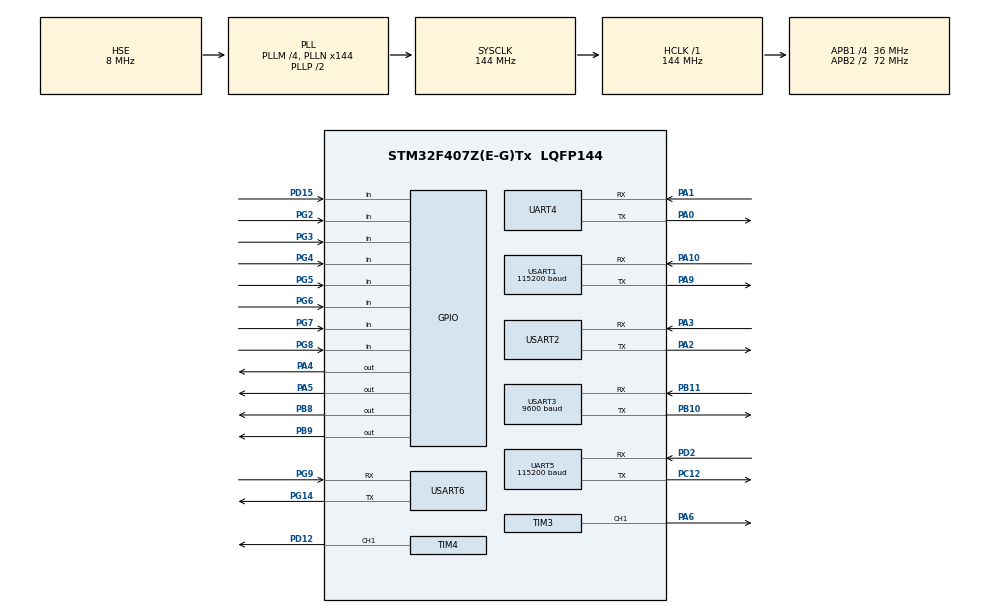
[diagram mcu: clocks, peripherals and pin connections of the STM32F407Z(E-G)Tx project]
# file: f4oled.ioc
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Dma.Request0=USART1_RX
Dma.Request1=USART1_TX
Dma.Request10=USART6_RX
Dma.Request11=USART6_TX
Dma.Request2=UART5_RX
Dma.Request3=UART5_TX
Dma.Request4=USART2_TX
Dma.Request5=USART2_RX
Dma.Request6=USART3_TX
Dma.Request7=USART3_RX
Dma.Request8=UART4_RX
Dma.Request9=UART4_TX
Dma.UART4_RX.8.Direction=DMA_PERIPH_TO_MEMORY
Dma.UART4_RX.8.FIFOMode=DMA_FIFOMODE_DISABLE
Dma.UART4_RX.8.Instance=DMA1_Stream2
Dma.UART4_RX.8.MemDataAlignment=DMA_MDATAALIGN_BYTE
Dma.UART4_RX.8.MemInc=DMA_MINC_ENABLE
Dma.UART4_RX.8.Mode=DMA_NORMAL
Dma.UART4_RX.8.PeriphDataAlignment=DMA_PDATAALIGN_BYTE
Dma.UART4_RX.8.PeriphInc=DMA_PINC_DISABLE
Dma.UART4_RX.8.Priority=DMA_PRIORITY_LOW
Dma.UART4_TX.9.Direction=DMA_MEMORY_TO_PERIPH
Dma.UART4_TX.9.FIFOMode=DMA_FIFOMODE_DISABLE
Dma.UART4_TX.9.Instance=DMA1_Stream4
Dma.UART4_TX.9.MemDataAlignment=DMA_MDATAALIGN_BYTE
Dma.UART4_TX.9.MemInc=DMA_MINC_ENABLE
Dma.UART4_TX.9.Mode=DMA_NORMAL
Dma.UART4_TX.9.PeriphDataAlignment=DMA_PDATAALIGN_BYTE
Dma.UART4_TX.9.PeriphInc=DMA_PINC_DISABLE
Dma.UART4_TX.9.Priority=DMA_PRIORITY_LOW
Dma.UART5_RX.2.Direction=DMA_PERIPH_TO_MEMORY
Dma.UART5_RX.2.FIFOMode=DMA_FIFOMODE_DISABLE
Dma.UART5_RX.2.Instance=DMA1_Stream0
Dma.UART5_RX.2.MemDataAlignment=DMA_MDATAALIGN_BYTE
Dma.UART5_RX.2.MemInc=DMA_MINC_ENABLE
Dma.UART5_RX.2.Mode=DMA_NORMAL
Dma.UART5_RX.2.PeriphDataAlignment=DMA_PDATAALIGN_BYTE
Dma.UART5_RX.2.PeriphInc=DMA_PINC_DISABLE
Dma.UART5_RX.2.Priority=DMA_PRIORITY_LOW
Dma.UART5_TX.3.Direction=DMA_MEMORY_TO_PERIPH
Dma.UART5_TX.3.FIFOMode=DMA_FIFOMODE_DISABLE
Dma.UART5_TX.3.Instance=DMA1_Stream7
Dma.UART5_TX.3.MemDataAlignment=DMA_MDATAALIGN_BYTE
Dma.UART5_TX.3.MemInc=DMA_MINC_ENABLE
Dma.UART5_TX.3.Mode=DMA_NORMAL
Dma.UART5_TX.3.PeriphDataAlignment=DMA_PDATAALIGN_BYTE
Dma.UART5_TX.3.PeriphInc=DMA_PINC_DISABLE
Dma.UART5_TX.3.Priority=DMA_PRIORITY_LOW
Dma.USART1_RX.0.Direction=DMA_PERIPH_TO_MEMORY
Dma.USART1_RX.0.FIFOMode=DMA_FIFOMODE_DISABLE
Dma.USART1_RX.0.Instance=DMA2_Stream2
Dma.USART1_RX.0.MemDataAlignment=DMA_MDATAALIGN_BYTE
Dma.USART1_RX.0.MemInc=DMA_MINC_ENABLE
Dma.USART1_RX.0.Mode=DMA_NORMAL
Dma.USART1_RX.0.PeriphDataAlignment=DMA_PDATAALIGN_BYTE
Dma.USART1_RX.0.PeriphInc=DMA_PINC_DISABLE
Dma.USART1_RX.0.Priority=DMA_PRIORITY_LOW
Dma.USART1_TX.1.Direction=DMA_MEMORY_TO_PERIPH
Dma.USART1_TX.1.FIFOMode=DMA_FIFOMODE_DISABLE
Dma.USART1_TX.1.Instance=DMA2_Stream7
Dma.USART1_TX.1.MemDataAlignment=DMA_MDATAALIGN_BYTE
Dma.USART1_TX.1.MemInc=DMA_MINC_ENABLE
Dma.USART1_TX.1.Mode=DMA_NORMAL
Dma.USART1_TX.1.PeriphDataAlignment=DMA_PDATAALIGN_BYTE
Dma.USART1_TX.1.PeriphInc=DMA_PINC_DISABLE
Dma.USART1_TX.1.Priority=DMA_PRIORITY_LOW
Dma.USART2_RX.5.Direction=DMA_PERIPH_TO_MEMORY
Dma.USART2_RX.5.FIFOMode=DMA_FIFOMODE_DISABLE
Dma.USART2_RX.5.Instance=DMA1_Stream5
Dma.USART2_RX.5.MemDataAlignment=DMA_MDATAALIGN_BYTE
Dma.USART2_RX.5.MemInc=DMA_MINC_ENABLE
Dma.USART2_RX.5.Mode=DMA_NORMAL
Dma.USART2_RX.5.PeriphDataAlignment=DMA_PDATAALIGN_BYTE
Dma.USART2_RX.5.PeriphInc=DMA_PINC_DISABLE
Dma.USART2_RX.5.Priority=DMA_PRIORITY_LOW
Dma.USART2_TX.4.Direction=DMA_MEMORY_TO_PERIPH
Dma.USART2_TX.4.FIFOMode=DMA_FIFOMODE_DISABLE
Dma.USART2_TX.4.Instance=DMA1_Stream6
Dma.USART2_TX.4.MemDataAlignment=DMA_MDATAALIGN_BYTE
Dma.USART2_TX.4.MemInc=DMA_MINC_ENABLE
Dma.USART2_TX.4.Mode=DMA_NORMAL
Dma.USART2_TX.4.PeriphDataAlignment=DMA_PDATAALIGN_BYTE
Dma.USART2_TX.4.PeriphInc=DMA_PINC_DISABLE
Dma.USART2_TX.4.Priority=DMA_PRIORITY_LOW
Dma.USART3_RX.7.Direction=DMA_PERIPH_TO_MEMORY
Dma.USART3_RX.7.FIFOMode=DMA_FIFOMODE_DISABLE
Dma.USART3_RX.7.Instance=DMA1_Stream1
Dma.USART3_RX.7.MemDataAlignment=DMA_MDATAALIGN_BYTE
Dma.USART3_RX.7.MemInc=DMA_MINC_ENABLE
Dma.USART3_RX.7.Mode=DMA_NORMAL
Dma.USART3_RX.7.PeriphDataAlignment=DMA_PDATAALIGN_BYTE
Dma.USART3_RX.7.PeriphInc=DMA_PINC_DISABLE
Dma.USART3_RX.7.Priority=DMA_PRIORITY_LOW
Dma.USART3_TX.6.Direction=DMA_MEMORY_TO_PERIPH
Dma.USART3_TX.6.FIFOMode=DMA_FIFOMODE_DISABLE
Dma.USART3_TX.6.Instance=DMA1_Stream3
Dma.USART3_TX.6.MemDataAlignment=DMA_MDATAALIGN_BYTE
Dma.USART3_TX.6.MemInc=DMA_MINC_ENABLE
Dma.USART3_TX.6.Mode=DMA_NORMAL
Dma.USART3_TX.6.PeriphDataAlignment=DMA_PDATAALIGN_BYTE
Dma.USART3_TX.6.PeriphInc=DMA_PINC_DISABLE
Dma.USART3_TX.6.Priority=DMA_PRIORITY_LOW
Dma.USART6_RX.10.Direction=DMA_PERIPH_TO_MEMORY
Dma.USART6_RX.10.FIFOMode=DMA_FIFOMODE_DISABLE
Dma.USART6_RX.10.Instance=DMA2_Stream1
Dma.USART6_RX.10.MemDataAlignment=DMA_MDATAALIGN_BYTE
Dma.USART6_RX.10.MemInc=DMA_MINC_ENABLE
Dma.USART6_RX.10.Mode=DMA_NORMAL
Dma.USART6_RX.10.PeriphDataAlignment=DMA_PDATAALIGN_BYTE
Dma.USART6_RX.10.PeriphInc=DMA_PINC_DISABLE
Dma.USART6_RX.10.Priority=DMA_PRIORITY_LOW
Dma.USART6_TX.11.Direction=DMA_MEMORY_TO_PERIPH
Dma.USART6_TX.11.FIFOMode=DMA_FIFOMODE_DISABLE
Dma.USART6_TX.11.Instance=DMA2_Stream6
Dma.USART6_TX.11.MemDataAlignment=DMA_MDATAALIGN_BYTE
Dma.USART6_TX.11.MemInc=DMA_MINC_ENABLE
Dma.USART6_TX.11.Mode=DMA_NORMAL
Dma.USART6_TX.11.PeriphDataAlignment=DMA_PDATAALIGN_BYTE
Dma.USART6_TX.11.PeriphInc=DMA_PINC_DISABLE
Dma.USART6_TX.11.Priority=DMA_PRIORITY_LOW
Mcu.Family=STM32F4
Mcu.Name=STM32F407Z(E-G)Tx
Mcu.Package=LQFP144
NVIC.DMA1_Stream0_IRQn=true\:0\:0\:false\:false\:true\:false\:true\:true
NVIC.DMA1_Stream1_IRQn=true\:0\:0\:false\:false\:true\:false\:true\:true
NVIC.DMA1_Stream2_IRQn=true\:0\:0\:false\:false\:true\:false\:true\:true
NVIC.DMA1_Stream3_IRQn=true\:0\:0\:false\:false\:true\:false\:true\:true
NVIC.DMA1_Stream4_IRQn=true\:0\:0\:false\:false\:true\:false\:true\:true
NVIC.DMA1_Stream5_IRQn=true\:0\:0\:false\:false\:true\:false\:true\:true
NVIC.DMA1_Stream6_IRQn=true\:0\:0\:false\:false\:true\:false\:true\:true
NVIC.DMA1_Stream7_IRQn=true\:0\:0\:false\:false\:true\:false\:true\:true
NVIC.DMA2_Stream1_IRQn=true\:0\:0\:false\:false\:true\:false\:true\:true
NVIC.DMA2_Stream2_IRQn=true\:0\:0\:false\:false\:true\:false\:true\:true
NVIC.DMA2_Stream6_IRQn=true\:0\:0\:false\:false\:true\:false\:true\:true
NVIC.DMA2_Stream7_IRQn=true\:0\:0\:false\:false\:true\:false\:true\:true
NVIC.PriorityGroup=NVIC_PRIORITYGROUP_4
NVIC.TIM8_UP_TIM13_IRQn=true\:0\:0\:false\:false\:true\:true\:true\:true
NVIC.UART4_IRQn=true\:0\:0\:false\:false\:true\:true\:true\:true
NVIC.UART5_IRQn=true\:0\:0\:false\:false\:true\:true\:true\:true
NVIC.USART1_IRQn=true\:0\:0\:false\:false\:true\:true\:true\:true
NVIC.USART2_IRQn=true\:0\:0\:false\:false\:true\:true\:true\:true
NVIC.USART3_IRQn=true\:0\:0\:false\:false\:true\:true\:true\:true
NVIC.USART6_IRQn=true\:0\:0\:false\:false\:true\:true\:true\:true
PA0-WKUP.Mode=Asynchronous
PA0-WKUP.Signal=UART4_TX
PA1.Mode=Asynchronous
PA1.Signal=UART4_RX
PA10.Mode=Asynchronous
PA10.Signal=USART1_RX
PA13.Mode=Serial_Wire
PA13.Signal=SYS_JTMS-SWDIO
PA14.Mode=Serial_Wire
PA14.Signal=SYS_JTCK-SWCLK
PA2.Mode=Asynchronous
PA2.Signal=USART2_TX
PA3.Mode=Asynchronous
PA3.Signal=USART2_RX
PA4.GPIO_ModeDefaultOutputPP=GPIO_MODE_OUTPUT_PP
PA4.GPIO_PuPd=GPIO_PULLUP
PA4.Signal=GPIO_Output
PA5.GPIO_PuPd=GPIO_PULLUP
PA5.Signal=GPIO_Output
PA6.Signal=S_TIM3_CH1
PA9.Mode=Asynchronous
PA9.Signal=USART1_TX
PB10.Mode=Asynchronous
PB10.Signal=USART3_TX
PB11.Mode=Asynchronous
PB11.Signal=USART3_RX
PB8.GPIO_ModeDefaultOutputPP=GPIO_MODE_OUTPUT_OD
PB8.GPIO_PuPd=GPIO_NOPULL
PB8.GPIO_Speed=GPIO_SPEED_FREQ_HIGH
PB8.Signal=GPIO_Output
PB9.GPIO_ModeDefaultOutputPP=GPIO_MODE_OUTPUT_OD
PB9.GPIO_PuPd=GPIO_NOPULL
PB9.GPIO_Speed=GPIO_SPEED_FREQ_HIGH
PB9.Signal=GPIO_Output
PC12.Mode=Asynchronous
PC12.Signal=UART5_TX
PD12.Signal=S_TIM4_CH1
PD15.GPIO_PuPd=GPIO_PULLDOWN
PD15.Signal=GPIO_Input
PD2.Mode=Asynchronous
PD2.Signal=UART5_RX
PG14.Mode=Asynchronous
PG14.Signal=USART6_TX
PG2.GPIO_PuPd=GPIO_PULLDOWN
PG2.Signal=GPIO_Input
PG3.GPIO_PuPd=GPIO_PULLDOWN
PG3.Signal=GPIO_Input
PG4.GPIO_PuPd=GPIO_PULLDOWN
PG4.Signal=GPIO_Input
PG5.GPIO_PuPd=GPIO_PULLDOWN
PG5.Signal=GPIO_Input
PG6.GPIO_PuPd=GPIO_PULLDOWN
PG6.Signal=GPIO_Input
PG7.GPIO_PuPd=GPIO_PULLDOWN
PG7.Signal=GPIO_Input
PG8.GPIO_PuPd=GPIO_PULLDOWN
PG8.Signal=GPIO_Input
PG9.Mode=Asynchronous
PG9.Signal=USART6_RX
PH0-OSC_IN.Mode=HSE-External-Oscillator
PH0-OSC_IN.Signal=RCC_OSC_IN
PH1-OSC_OUT.Mode=HSE-External-Oscillator
PH1-OSC_OUT.Signal=RCC_OSC_OUT
ProjectManager.HeapSize=0x200
ProjectManager.StackSize=0x400
ProjectManager.TargetToolchain=CMake
RCC.48MHZClocksFreq_Value=72000000
RCC.AHBFreq_Value=144000000
RCC.APB1CLKDivider=RCC_HCLK_DIV4
RCC.APB1Freq_Value=36000000
RCC.APB1TimFreq_Value=72000000
RCC.APB2CLKDivider=RCC_HCLK_DIV2
RCC.APB2Freq_Value=72000000
RCC.APB2TimFreq_Value=144000000
RCC.CortexFreq_Value=144000000
RCC.HCLKFreq_Value=144000000
RCC.HSE_VALUE=8000000
RCC.HSI_VALUE=16000000
RCC.LSE_VALUE=32768
RCC.PLLM=4
RCC.PLLN=144
RCC.PLLSourceVirtual=RCC_PLLSOURCE_HSE
RCC.SYSCLKFreq_VALUE=144000000
RCC.SYSCLKSource=RCC_SYSCLKSOURCE_PLLCLK
RCC.VCOOutputFreq_Value=288000000
SH.S_TIM3_CH1.0=TIM3_CH1,PWM Generation1 CH1
SH.S_TIM4_CH1.0=TIM4_CH1,PWM Generation1 CH1
TIM3.Channel-PWM\ Generation1\ CH1=TIM_CHANNEL_1
TIM4.Channel-PWM\ Generation1\ CH1=TIM_CHANNEL_1
TIM8.Period=999
TIM8.Prescaler=143
UART4.VirtualMode=Asynchronous
UART5.BaudRate=115200
UART5.VirtualMode=Asynchronous
USART1.BaudRate=115200
USART1.VirtualMode=VM_ASYNC
USART2.VirtualMode=VM_ASYNC
USART3.BaudRate=9600
USART3.VirtualMode=VM_ASYNC
USART6.VirtualMode=VM_ASYNC
VP_TIM3_VS_ClockSourceINT.Mode=Internal
VP_TIM4_VS_ClockSourceINT.Mode=Internal
VP_TIM5_VS_ClockSourceINT.Mode=Internal
VP_TIM8_VS_ClockSourceINT.Mode=Internal
board=custom

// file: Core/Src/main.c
/* USER CODE BEGIN Header */
/**
  ******************************************************************************
  * @file           : main.c
  * @brief          : Main program body
  ******************************************************************************
  * @attention
  *
  * Copyright (c) 2025 STMicroelectronics.
  * All rights reserved.
  *
  * This software is licensed under terms that can be found in the LICENSE file
  * in the root directory of this software component.
  * If no LICENSE file comes with this software, it is provided AS-IS.
  *
  ******************************************************************************
  */
/* USER CODE END Header */
#include "main.h"
#include "dma.h"
#include "stm32f4xx_hal.h"
#include "tim.h"
#include "usart.h"
#include "gpio.h"

/* USER CODE BEGIN Includes */
#include "oled.h"
#include "jy61p.h"
#include "EMM_V5.H"
#include "move.H"
#include "gray.H"
#include "string.h"
#include "math.h"
#include "state.h"
#include "duoji.h"
#include "shijue.h"
#include <stdint.h>
#include <stdio.h>
/* USER CODE END Includes */

/* USER CODE BEGIN PD */
#define PACKET_TIMEOUT 100
#define DUOJI_BOOT_SETTLE_DELAY_MS 50U
#define DUOJI_BOOT_REHOME_DELAY_MS 450U
#define VISION_DEBUG_PRINT_PERIOD_MS 200U
#define VISION_YAJUN_ACTION_DELAY_MS 600
#define TASK2_PLACE_TO_BACK_DELAY_MS 800U // 修改：任务二放完物块后等待1秒再回退
#define JY61P_RX_BUFFER_SIZE 64U
#define JY61P_DEBUG_PRINT_PERIOD_MS 1000U
/* USER CODE END PD */

/* USER CODE BEGIN PV */

uint16_t count;
uint8_t count1;
uint8_t count2;

uint8_t a;
uint8_t b;
KinematicsParam_t MyChassisParam; // 底盘运动学参�?
extern uint8_t g_motionActive;
extern uint8_t stat;
extern volatile uint32_t g_debug_io_mode;
uint8_t rxBuffer1[256];
uint8_t rxBuffer2[10];
uint8_t txBuffer2[10];
uint8_t rxBuffer3[100];
uint8_t rxBuffer4[256];
uint8_t rxBuffer5[256];
/* 修改：USART6 专用于接收 JY61P 连续数据流。 */
static uint8_t jy61p_rx_buffer[JY61P_RX_BUFFER_SIZE];
static uint8_t jy61p_debug_tx[160];
static volatile uint8_t jy61p_rx_enabled = 0U;
uint8_t QRPacke[2];
uint8_t QRPacke1[2];
uint8_t Coulor[5];
uint8_t place[7] = {'0', '0', '0', '0', '0', '0', '\0'};
volatile uint8_t vision_place_valid = 0U;
volatile uint8_t vision_current_cmd = 0U;
static volatile uint16_t vision_x_latest = 0U;
static volatile uint16_t vision_y_latest = 0U;
static uint8_t vision_color_count = 0U;
static uint8_t vision_debug_tx[40];
uint8_t distancestate=0;
uint8_t accValid = 0;
char displayBuffer[20];
typedef enum {
    MOTOR_IDLE,
    MOTOR_ENABLING,
    MOTOR_MOVING,
    MOTOR_FINISHED
} MotorState_t;
extern int ball_2[5];
extern uint8_t outLetter[4];
MotorState_t motorState = MOTOR_IDLE;
uint32_t motorTimer = 0;
/* USER CODE END PV */

void SystemClock_Config(void);

/* USER CODE BEGIN 0 */
uint8_t get_vision_xy(uint16_t *vision_x, uint16_t *vision_y, uint16_t max_x, uint16_t max_y)
{
    uint16_t x_snapshot = 0U;
    uint16_t y_snapshot = 0U;
    uint8_t valid = 0U;

    __disable_irq();
    x_snapshot = vision_x_latest;
    y_snapshot = vision_y_latest;
    valid = vision_place_valid;
    __enable_irq();

    if (valid == 0U) {
        *vision_x = 0U;
        *vision_y = 0U;
        return 0U;
    }

    if ((x_snapshot > max_x) || (y_snapshot > max_y)) {
        *vision_x = 0U;
        *vision_y = 0U;
        return 0U;
    }

    *vision_x = x_snapshot;
    *vision_y = y_snapshot;

    return 1U;
}

static uint16_t Vision_ReadLe16(const uint8_t *data)
{
    return (uint16_t)data[0] | ((uint16_t)data[1] << 8);
}

static uint32_t Vision_ReadLe32(const uint8_t *data)
{
    return (uint32_t)data[0] |
           ((uint32_t)data[1] << 8) |
           ((uint32_t)data[2] << 16) |
           ((uint32_t)data[3] << 24);
}

static uint8_t Vision_ColorIdToChar(uint8_t color_id)
{
    switch (color_id) {
    case 1U: return (uint8_t)'w';
    case 2U: return (uint8_t)'r';
    case 3U: return (uint8_t)'b';
    case 4U: return (uint8_t)'g';
    case 5U: return (uint8_t)'k';
    default: return 0U;
    }
}

static uint8_t Vision_ColorDebugChar(uint8_t color)
{
    return (color == 0U) ? (uint8_t)'0' : color;
}

static void Vision_SendParsedDebug(uint8_t type, uint32_t qr_num, uint8_t color_char, int16_t x, int16_t y)
{
    int len = 0;

    if (huart2.gState != HAL_UART_STATE_READY) {
        return;
    }

    if (type == 0x01U) {
        (void)color_char;
        len = snprintf((char *)vision_debug_tx, sizeof(vision_debug_tx), "COLOR,%c%c%c%c%c\r\n",
                       Vision_ColorDebugChar(Coulor[0]),
                       Vision_ColorDebugChar(Coulor[1]),
                       Vision_ColorDebugChar(Coulor[2]),
                       Vision_ColorDebugChar(Coulor[3]),
                       Vision_ColorDebugChar(Coulor[4]));
    } else if (type == 0x02U) {
        len = snprintf((char *)vision_debug_tx, sizeof(vision_debug_tx), "QR,%lu\r\n", (unsigned long)qr_num);
    } else if (type == 0x03U) {
        len = snprintf((char *)vision_debug_tx, sizeof(vision_debug_tx), "LOC,%d,%d\r\n", (int)x, (int)y);
    }

    if ((len > 0) && (len < (int)sizeof(vision_debug_tx))) {
        /* 修改：暂时停止将视觉解析结果转发到 USART2。 */
        // HAL_UART_Transmit_DMA(&huart2, vision_debug_tx, (uint16_t)len);
    }
}

static void JY61P_FormatCenti(char *output, uint16_t output_size, float value)
{
    int32_t scaled = (int32_t)(value * 100.0f + ((value >= 0.0f) ? 0.5f : -0.5f));
    uint32_t magnitude = (scaled < 0) ? (uint32_t)(-scaled) : (uint32_t)scaled;

    snprintf(output, output_size, "%s%lu.%02lu",
             (scaled < 0) ? "-" : "",
             (unsigned long)(magnitude / 100U),
             (unsigned long)(magnitude % 100U));
}

/* 修改：陀螺仪调试输出当前停用，保留函数供后续恢复。 */
static void __attribute__((unused)) JY61P_SendDebug(void)
{
    static uint32_t last_print_tick = 0U;
    char ax[16], ay[16], az[16];
    char wx[16], wy[16], wz[16];
    char roll[16], pitch[16], yaw[16], temperature[16];
    uint32_t now = HAL_GetTick();
    int len;

    if (((now - last_print_tick) < JY61P_DEBUG_PRINT_PERIOD_MS) ||
        (lastPacketTime == 0U) ||
        (huart2.gState != HAL_UART_STATE_READY)) {
        return;
    }

    last_print_tick = now;
    JY61P_FormatCenti(ax, sizeof(ax), sensorData.ax);
    JY61P_FormatCenti(ay, sizeof(ay), sensorData.ay);
    JY61P_FormatCenti(az, sizeof(az), sensorData.az);
    JY61P_FormatCenti(wx, sizeof(wx), sensorData.wx);
    JY61P_FormatCenti(wy, sizeof(wy), sensorData.wy);
    JY61P_FormatCenti(wz, sizeof(wz), sensorData.wz);
    JY61P_FormatCenti(roll, sizeof(roll), sensorData.roll);
    JY61P_FormatCenti(pitch, sizeof(pitch), sensorData.pitch);
    JY61P_FormatCenti(yaw, sizeof(yaw), sensorData.yaw);
    JY61P_FormatCenti(temperature, sizeof(temperature), sensorData.temperature);

    len = snprintf((char *)jy61p_debug_tx, sizeof(jy61p_debug_tx),
                   "IMU,ACC=%s,%s,%s,GYRO=%s,%s,%s,ANGLE=%s,%s,%s,TEMP=%s\r\n",
                   ax, ay, az, wx, wy, wz, roll, pitch, yaw, temperature);

    if ((len > 0) && (len < (int)sizeof(jy61p_debug_tx))) {
        HAL_UART_Transmit_DMA(&huart2, jy61p_debug_tx, (uint16_t)len);
    }
}

static void Vision_SaveQr(uint32_t qr_num)
{
    uint8_t tens = (uint8_t)(((qr_num % 100U) / 10U) + (uint32_t)'0');
    uint8_t units = (uint8_t)((qr_num % 10U) + (uint32_t)'0');

    if (vision_current_cmd == 0x01U) {
        QRPacke[0] = tens;
        QRPacke[1] = units;
    } else if (vision_current_cmd == 0x03U) {
        QRPacke1[0] = tens;
        QRPacke1[1] = units;
    }

    Vision_SendParsedDebug(0x02U, qr_num, 0U, 0, 0);
}

static void Vision_SaveColor(uint8_t color_id)
{
    uint8_t color_char = Vision_ColorIdToChar(color_id);
    uint8_t i = 0U;

    if (color_char == 0U) {
        return;
    }

    for (i = 0U; i < vision_color_count; i++) {
        if (Coulor[i] == color_char) {
            Vision_SendParsedDebug(0x01U, 0U, 0U, 0, 0);
            return;
        }
    }

    if (vision_color_count >= 5U) {
        Vision_SendParsedDebug(0x01U, 0U, 0U, 0, 0);
        return;
    }

    Coulor[vision_color_count] = color_char;
    vision_color_count++;

    Vision_SendParsedDebug(0x01U, 0U, 0U, 0, 0);
}

static void Vision_SaveLocation(int16_t x, int16_t y)
{
    uint16_t legacy_x = 0U;
    uint16_t legacy_y = 0U;

    if ((x < 0) || (y < 0)) {
        vision_place_valid = 0U;
        return;
    }

    __disable_irq();
    vision_x_latest = (uint16_t)x;
    vision_y_latest = (uint16_t)y;
    vision_place_valid = 1U;
    __enable_irq();

    legacy_x = ((uint16_t)x > 999U) ? 999U : (uint16_t)x;
    legacy_y = ((uint16_t)y > 999U) ? 999U : (uint16_t)y;
    place[0] = (uint8_t)((legacy_x / 100U) + (uint16_t)'0');
    place[1] = (uint8_t)(((legacy_x / 10U) % 10U) + (uint16_t)'0');
    place[2] = (uint8_t)((legacy_x % 10U) + (uint16_t)'0');
    place[3] = (uint8_t)((legacy_y / 100U) + (uint16_t)'0');
    place[4] = (uint8_t)(((legacy_y / 10U) % 10U) + (uint16_t)'0');
    place[5] = (uint8_t)((legacy_y % 10U) + (uint16_t)'0');

    Vision_SendParsedDebug(0x03U, 0U, 0U, x, y);
}

static void Vision_ParseNewFrame(const uint8_t *buf, uint16_t size)
{
    uint8_t type = 0U;
    uint8_t len = 0U;

    if ((size < 5U) || (buf[0] != 0xAAU)) {
        return;
    }

    type = buf[1];
    len = buf[2];

    if ((len > 4U) || (size < (uint16_t)(len + 4U)) || (buf[len + 3U] != 0x55U)) {
        return;
    }

    if ((type == 0x01U) && (len == 1U)) {
        Vision_SaveColor(buf[3]);
    } else if ((type == 0x02U) && (len == 4U)) {
        Vision_SaveQr(Vision_ReadLe32(&buf[3]));
    } else if ((type == 0x03U) && (len == 4U)) {
        Vision_SaveLocation((int16_t)Vision_ReadLe16(&buf[3]),
                            (int16_t)Vision_ReadLe16(&buf[5]));
    }
}

static float clamp_float(float value, float min_value, float max_value)
{
    if (value > max_value) {
        return max_value;
    }

    if (value < min_value) {
        return min_value;
    }

    return value;
}

static void add_vector_by_angle(float angle_deg, float speed, float *vx, float *vy)
{
    float rad = angle_deg * 3.1415926f / 180.0f;

    *vx += speed * cosf(rad);
    *vy += speed * sinf(rad);
}

static void Debug_PrintVisionXY(uint16_t vision_x, uint16_t vision_y, uint8_t valid)
{
    static uint32_t last_print_tick = 0U;
    uint32_t now = HAL_GetTick();

    if (g_debug_io_mode != 1U) {
        return;
    }

    if ((now - last_print_tick) < VISION_DEBUG_PRINT_PERIOD_MS) {
        return;
    }

    last_print_tick = now;
    /* 修改：恢复视觉坐标调试输出。 */
    printf("vision valid=%u x=%u y=%u\r\n",
           (unsigned int)valid,
           (unsigned int)vision_x,
           (unsigned int)vision_y);
}

static uint8_t Vision_XY_PID_Control(uint16_t vision_x,
                                     uint16_t vision_y,
                                     uint8_t valid,
                                     uint16_t center_x,
                                     uint16_t max_x,
                                     uint16_t center_y,
                                     uint16_t max_y,
                                     uint16_t deadband_x_px,
                                     uint16_t deadband_y_px,
                                     float kp_x,
                                     float ki_x,
                                     float kd_x,
                                     float kp_y,
                                     float ki_y,
                                     float kd_y,
                                     float min_speed_mps,
                                     float max_speed_mps,
                                     float integral_limit_x,
                                     float integral_limit_y,
                                     uint32_t update_period_ms,
                                     float angle_when_x_low,
                                     float angle_when_x_high,
                                     float angle_when_y_low,
                                     float angle_when_y_high)
{
    static float integral_x = 0.0f;
    static float integral_y = 0.0f;
    static float last_error_x = 0.0f;
    static float last_error_y = 0.0f;
    static uint32_t last_update_tick = 0U;
    static uint8_t pid_initialized = 0U;
    static uint8_t motor_running = 0U;
    float error_x = (float)((int32_t)center_x - (int32_t)vision_x);
    float error_y = (float)((int32_t)center_y - (int32_t)vision_y);
    float abs_error_x = fabsf(error_x);
    float abs_error_y = fabsf(error_y);
    uint32_t now = HAL_GetTick();

    if ((valid == 0U) || (vision_x > max_x) || (vision_y > max_y)) {
        if (motor_running != 0U) {
            Move_StopAll();
        }
        integral_x = 0.0f;
        integral_y = 0.0f;
        last_error_x = 0.0f;
        last_error_y = 0.0f;
        pid_initialized = 0U;
        motor_running = 0U;
        return 0U;
    }

    if ((abs_error_x <= (float)deadband_x_px) && (abs_error_y <= (float)deadband_y_px)) {
        if (motor_running != 0U) {
            Move_StopAll();
        }
        integral_x = 0.0f;
        integral_y = 0.0f;
        last_error_x = error_x;
        last_error_y = error_y;
        pid_initialized = 1U;
        last_update_tick = now;
        motor_running = 0U;
        return 1U;
    }

    if ((update_period_ms > 0U) && ((now - last_update_tick) < update_period_ms)) {
        return 0U;
    }

    float dt = 0.001f;
    if (pid_initialized != 0U) {
        dt = (float)(now - last_update_tick) / 1000.0f;
        if (dt <= 0.0f) {
            dt = 0.001f;
        }
    }

    float output_x = 0.0f;
    float output_y = 0.0f;

    if (abs_error_x > (float)deadband_x_px) {
        integral_x += error_x * dt;
        integral_x = clamp_float(integral_x, -integral_limit_x, integral_limit_x);
        float derivative_x = (pid_initialized != 0U) ? ((error_x - last_error_x) / dt) : 0.0f;
        output_x = (kp_x * error_x) + (ki_x * integral_x) + (kd_x * derivative_x);
    } else {
        integral_x = 0.0f;
    }

    if (abs_error_y > (float)deadband_y_px) {
        integral_y += error_y * dt;
        integral_y = clamp_float(integral_y, -integral_limit_y, integral_limit_y);
        float derivative_y = (pid_initialized != 0U) ? ((error_y - last_error_y) / dt) : 0.0f;
        output_y = (kp_y * error_y) + (ki_y * integral_y) + (kd_y * derivative_y);
    } else {
        integral_y = 0.0f;
    }

    float vector_x = 0.0f;
    float vector_y = 0.0f;

    if (output_x > 0.0f) {
        add_vector_by_angle(angle_when_x_low, fabsf(output_x), &vector_x, &vector_y);
    } else if (output_x < 0.0f) {
        add_vector_by_angle(angle_when_x_high, fabsf(output_x), &vector_x, &vector_y);
    }

    if (output_y > 0.0f) {
        add_vector_by_angle(angle_when_y_low, fabsf(output_y), &vector_x, &vector_y);
    } else if (output_y < 0.0f) {
        add_vector_by_angle(angle_when_y_high, fabsf(output_y), &vector_x, &vector_y);
    }

    float speed = sqrtf((vector_x * vector_x) + (vector_y * vector_y));
    if (speed <= 0.0f) {
        if (motor_running != 0U) {
            Move_StopAll();
        }
        motor_running = 0U;
    } else {
        float angle_deg = atan2f(vector_y, vector_x) * 180.0f / 3.1415926f;
        if (angle_deg < 0.0f) {
            angle_deg += 360.0f;
        }

        speed = clamp_float(speed, min_speed_mps, max_speed_mps);
        Move_TranslateContinuous(angle_deg, speed);
        motor_running = 1U;
    }

    if ((abs_error_x <= (float)deadband_x_px) && (abs_error_y <= (float)deadband_y_px)) {
        Move_StopAll();
        motor_running = 0U;
    }

    last_error_x = error_x;
    last_error_y = error_y;
    last_update_tick = now;
    pid_initialized = 1U;
    return (motor_running == 0U) ? 1U : 0U;
}

static uint8_t s_vision_fb_phase = 0U;
static uint32_t s_vision_fb_stable_start_tick = 0U;
static uint32_t s_vision_fb_wait_start_tick = 0U;

void Vision_XY_PID_Then_Forward_Backward_Reset(void)
{
    s_vision_fb_phase = 0U;
    s_vision_fb_stable_start_tick = 0U;
    s_vision_fb_wait_start_tick = 0U;
}

uint8_t Vision_XY_PID_Then_Forward_Backward(uint16_t vision_x,
                                                   uint16_t vision_y,
                                                   uint8_t valid,
                                                   uint16_t center_x,
                                                   uint16_t max_x,
                                                   uint16_t center_y,
                                                   uint16_t max_y,
                                                   uint16_t deadband_x_px,
                                                   uint16_t deadband_y_px,
                                                   float kp_x,
                                                   float ki_x,
                                                   float kd_x,
                                                   float kp_y,
                                                   float ki_y,
                                                   float kd_y,
                                                   float min_speed_mps,
                                                   float max_speed_mps,
                                                   float integral_limit_x,
                                                   float integral_limit_y,
                                                   uint32_t update_period_ms,
                                                   float angle_when_x_low,
                                                   float angle_when_x_high,
                                                   float angle_when_y_low,
                                                   float angle_when_y_high,
                                                   uint32_t stable_required_ms,
                                                   float forward_distance_m,
                                                   float backward_distance_m,
                                                   float move_speed_mps,
                                                   float forward_angle_deg,
                                                   float backward_angle_deg)
{
    if (s_vision_fb_phase == 0U) {
        uint8_t aligned = Vision_XY_PID_Control(vision_x, vision_y, valid,
                                                center_x, max_x, center_y, max_y,
                                                deadband_x_px, deadband_y_px,
                                                kp_x, ki_x, kd_x,
                                                kp_y, ki_y, kd_y,
                                                min_speed_mps, max_speed_mps,
                                                integral_limit_x, integral_limit_y,
                                                update_period_ms,
                                                angle_when_x_low, angle_when_x_high,
                                                angle_when_y_low, angle_when_y_high);
        uint32_t now = HAL_GetTick();

        if (aligned == 0U) {
            s_vision_fb_stable_start_tick = 0U;
            return 0U;
        }

        if (s_vision_fb_stable_start_tick == 0U) {
            s_vision_fb_stable_start_tick = now;
            return 0U;
        }

        if ((now - s_vision_fb_stable_start_tick) < stable_required_ms) {
            return 0U;
        }

        if ((forward_distance_m <= 0.0f) || (backward_distance_m <= 0.0f) || (move_speed_mps <= 0.0f)) {
            s_vision_fb_phase = 4U;
            return 1U;
        }

        uint32_t duration_ms = (uint32_t)((forward_distance_m / move_speed_mps) * 1000.0f + 0.5f);
        Move_StartTranslateForTime(forward_angle_deg, move_speed_mps, duration_ms);
        s_vision_fb_phase = 1U;
        return 0U;
    }

    if (s_vision_fb_phase == 1U) {
        Move_Update();
        if (g_motionActive != 0U) {
            s_vision_fb_phase = 2U;
            s_vision_fb_wait_start_tick = HAL_GetTick();
        }
        return 0U;
    }

    if (s_vision_fb_phase == 2U) {
        if ((HAL_GetTick() - s_vision_fb_wait_start_tick) < 400U) {
            return 0U;
        }

        uint32_t duration_ms = (uint32_t)((backward_distance_m / move_speed_mps) * 1000.0f + 0.5f);
        Move_StartTranslateForTime(backward_angle_deg, move_speed_mps, duration_ms);
        s_vision_fb_phase = 3U;
        return 0U;
    }

    if (s_vision_fb_phase == 3U) {
        Move_Update();
        if (g_motionActive != 0U) {
            s_vision_fb_phase = 4U;
            return 1U;
        }
        return 0U;
    }

    return 1U;
}
uint8_t duoooooo=1;
uint8_t Vision_XY_PID_Then_Forward_Backward2(uint16_t vision_x,
                                                   uint16_t vision_y,
                                                   uint8_t valid,
                                                   uint16_t center_x,
                                                   uint16_t max_x,
                                                   uint16_t center_y,
                                                   uint16_t max_y,
                                                   uint16_t deadband_x_px,
                                                   uint16_t deadband_y_px,
                                                   float kp_x,
                                                   float ki_x,
                                                   float kd_x,
                                                   float kp_y,
                                                   float ki_y,
                                                   float kd_y,
                                                   float min_speed_mps,
                                                   float max_speed_mps,
                                                   float integral_limit_x,
                                                   float integral_limit_y,
                                                   uint32_t update_period_ms,
                                                   float angle_when_x_low,
                                                   float angle_when_x_high,
                                                   float angle_when_y_low,
                                                   float angle_when_y_high,
                                                   uint32_t stable_required_ms,
                                                   float forward_distance_m,
                                                   float backward_distance_m,
                                                   float move_speed_mps,
                                                   float forward_angle_deg,
                                                   float backward_angle_deg)
{
    if (s_vision_fb_phase == 0U) {
        uint8_t aligned = Vision_XY_PID_Control(vision_x, vision_y, valid,
                                                center_x, max_x, center_y, max_y,
                                                deadband_x_px, deadband_y_px,
                                                kp_x, ki_x, kd_x,
                                                kp_y, ki_y, kd_y,
                                                min_speed_mps, max_speed_mps,
                                                integral_limit_x, integral_limit_y,
                                                update_period_ms,
                                                angle_when_x_low, angle_when_x_high,
                                                angle_when_y_low, angle_when_y_high);
        uint32_t now = HAL_GetTick();

        if (aligned == 0U) {
            s_vision_fb_stable_start_tick = 0U;
            return 0U;
        }

        if (s_vision_fb_stable_start_tick == 0U) {
            s_vision_fb_stable_start_tick = now;
            return 0U;
        }

        if ((now - s_vision_fb_stable_start_tick) < stable_required_ms) {
            return 0U;
        }

        if ((forward_distance_m <= 0.0f) || (backward_distance_m <= 0.0f) || (move_speed_mps <= 0.0f)) {
            s_vision_fb_phase = 5U;
            return 1U;
        }

        uint32_t duration_ms = (uint32_t)((forward_distance_m / move_speed_mps) * 1000.0f + 0.5f);
        Move_StartTranslateForTime(forward_angle_deg, move_speed_mps, duration_ms);
        s_vision_fb_phase = 1U;
        return 0U;
    }

    if (s_vision_fb_phase == 1U) {
        Move_Update();
        if (g_motionActive != 0U) {
            if(duoooooo)
            {
                yajun_2();
                duoooooo=0;
            }
            else
            {
                guanjun_2();
            }
            s_vision_fb_phase = 2U;
            s_vision_fb_wait_start_tick = HAL_GetTick();
        }
        return 0U;
    }

    if (s_vision_fb_phase == 2U) {
        // 修改：任务二放完物块后等待1秒再回退
        if ((HAL_GetTick() - s_vision_fb_wait_start_tick) < TASK2_PLACE_TO_BACK_DELAY_MS) {
            return 0U;
        }

        uint32_t duration_ms = (uint32_t)((backward_distance_m / move_speed_mps) * 1000.0f + 0.5f);
        Move_StartTranslateForTime(backward_angle_deg, move_speed_mps, duration_ms);
        s_vision_fb_phase = 3U;
        return 0U;
    }

    if (s_vision_fb_phase == 3U) {
        Move_Update();
        if (g_motionActive != 0U) {
           // guanjun_2();
            s_vision_fb_phase = 4U;
            s_vision_fb_wait_start_tick = HAL_GetTick();
        }
        return 0U;
    }

    if (s_vision_fb_phase == 4U) {
        if ((HAL_GetTick() - s_vision_fb_wait_start_tick) >= VISION_YAJUN_ACTION_DELAY_MS) {
            s_vision_fb_phase = 5U;
            return 1U;
        }
        return 0U;
    }

    return 1U;
}

uint8_t Vision_XY_PID_Then_Forward_Backward3(uint16_t vision_x,
                                                   uint16_t vision_y,
                                                   uint8_t valid,
                                                   uint16_t center_x,
                                                   uint16_t max_x,
                                                   uint16_t center_y,
                                                   uint16_t max_y,
                                                   uint16_t deadband_x_px,
                                                   uint16_t deadband_y_px,
                                                   float kp_x,
                                                   float ki_x,
                                                   float kd_x,
                                                   float kp_y,
                                                   float ki_y,
                                                   float kd_y,
                                                   float min_speed_mps,
                                                   float max_speed_mps,
                                                   float integral_limit_x,
                                                   float integral_limit_y,
                                                   uint32_t update_period_ms,
                                                   float angle_when_x_low,
                                                   float angle_when_x_high,
                                                   float angle_when_y_low,
                                                   float angle_when_y_high,
                                                   uint32_t stable_required_ms,
                                                   float forward_distance_m,
                                                   float backward_distance_m,
                                                   float move_speed_mps,
                                                   float forward_angle_deg,
                                                   float backward_angle_deg)
{
    if (s_vision_fb_phase == 0U) {
        uint8_t aligned = Vision_XY_PID_Control(vision_x, vision_y, valid,
                                                center_x, max_x, center_y, max_y,
                                                deadband_x_px, deadband_y_px,
                                                kp_x, ki_x, kd_x,
                                                kp_y, ki_y, kd_y,
                                                min_speed_mps, max_speed_mps,
                                                integral_limit_x, integral_limit_y,
                                                update_period_ms,
                                                angle_when_x_low, angle_when_x_high,
                                                angle_when_y_low, angle_when_y_high);
        uint32_t now = HAL_GetTick();

        if (aligned == 0U) {
            s_vision_fb_stable_start_tick = 0U;
            return 0U;
        }

        if (s_vision_fb_stable_start_tick == 0U) {
            s_vision_fb_stable_start_tick = now;
            return 0U;
        }

        if ((now - s_vision_fb_stable_start_tick) < stable_required_ms) {
            return 0U;
        }

        if ((forward_distance_m <= 0.0f) || (backward_distance_m <= 0.0f) || (move_speed_mps <= 0.0f)) {
            s_vision_fb_phase = 5U;
            return 1U;
        }

        uint32_t duration_ms = (uint32_t)((forward_distance_m / move_speed_mps) * 1000.0f + 0.5f);
        Move_StartTranslateForTime(forward_angle_deg, move_speed_mps, duration_ms);
        s_vision_fb_phase = 1U;
        return 0U;
    }

    if (s_vision_fb_phase == 1U) {
        Move_Update();
        if (g_motionActive != 0U) {
            guanjun_2();
            s_vision_fb_phase = 2U;
            s_vision_fb_wait_start_tick = HAL_GetTick();
        }
        return 0U;
    }

    if (s_vision_fb_phase == 2U) {
        if ((HAL_GetTick() - s_vision_fb_wait_start_tick) < VISION_YAJUN_ACTION_DELAY_MS) {
            return 0U;
        }

        uint32_t duration_ms = (uint32_t)((backward_distance_m / move_speed_mps) * 1000.0f + 0.5f);
        Move_StartTranslateForTime(backward_angle_deg, move_speed_mps, duration_ms);
        s_vision_fb_phase = 3U;
        return 0U;
    }

    if (s_vision_fb_phase == 3U) {
        Move_Update();
        if (g_motionActive != 0U) {
            yajun_2();
            s_vision_fb_phase = 4U;
            s_vision_fb_wait_start_tick = HAL_GetTick();
        }
        return 0U;
    }

    if (s_vision_fb_phase == 4U) {
        if ((HAL_GetTick() - s_vision_fb_wait_start_tick) >= VISION_YAJUN_ACTION_DELAY_MS) {
            s_vision_fb_phase = 5U;
            return 1U;
        }
        return 0U;
    }

    return 1U;
}

void JY61P_RxStart(void)
{
    jy61p_rx_enabled = 1U;
    angleValid = 0U;
    (void)HAL_UART_DMAStop(&huart6);
    __HAL_UART_CLEAR_IDLEFLAG(&huart6);
    HAL_NVIC_ClearPendingIRQ(USART6_IRQn);
    HAL_NVIC_ClearPendingIRQ(DMA2_Stream1_IRQn);
    HAL_NVIC_EnableIRQ(DMA2_Stream1_IRQn);
    HAL_NVIC_EnableIRQ(USART6_IRQn);
    HAL_UARTEx_ReceiveToIdle_DMA(&huart6, jy61p_rx_buffer, sizeof(jy61p_rx_buffer));
    __HAL_DMA_DISABLE_IT(&hdma_usart6_rx, DMA_IT_HT);
}

void JY61P_RxStop(void)
{
    jy61p_rx_enabled = 0U;
    (void)HAL_UART_DMAStop(&huart6);
    __HAL_UART_DISABLE_IT(&huart6, UART_IT_IDLE | UART_IT_RXNE | UART_IT_PE | UART_IT_ERR);
    HAL_NVIC_DisableIRQ(USART6_IRQn);
    HAL_NVIC_DisableIRQ(DMA2_Stream1_IRQn);
    HAL_NVIC_ClearPendingIRQ(USART6_IRQn);
    HAL_NVIC_ClearPendingIRQ(DMA2_Stream1_IRQn);
}

void HAL_UARTEx_RxEventCallback(UART_HandleTypeDef *huart, uint16_t Size)
{
	(void)Size;
	if (huart == &huart6)
	{
		if (jy61p_rx_enabled == 0U)
		{
			return;
		}
		/* 修改：解析 USART6 收到的全部 JY61P 字节，并立即恢复空闲 DMA 接收。 */
		for (uint16_t i = 0U; i < Size; i++)
		{
			ProcessReceivedData(jy61p_rx_buffer[i]);
		}
		HAL_UARTEx_ReceiveToIdle_DMA(&huart6, jy61p_rx_buffer, sizeof(jy61p_rx_buffer));
		__HAL_DMA_DISABLE_IT(&hdma_usart6_rx, DMA_IT_HT);
		/* 修改：陀螺仪数据输出暂时注释，仅保留 USART6 接收与解析。 */
		// JY61P_SendDebug();
		return;
	}
	if(huart==&huart5)
	{
	//HAL_UART_Transmit_DMA(&huart5,rxBuffer5,Size);
	//HAL_UARTEx_ReceiveToIdle_DMA(&huart5,rxBuffer5,sizeof(rxBuffer5));

	}
	__HAL_DMA_DISABLE_IT(&hdma_uart5_rx, DMA_IT_HT);
	if(huart==&huart4)
	{
	}
	if(huart == &huart1)
    {
        Vision_ParseNewFrame(rxBuffer2, Size);
		rxBuffer2[0] = 0U;
        if(rxBuffer2[0] == 0xAA && rxBuffer2[3] == 0x55)
		{
		  a = rxBuffer2[1];
          b = rxBuffer2[2];
          if (QRPacke1[0]==0 && QRPacke1[1]==0)
          {
            QRPacke1[0]=a; QRPacke1[1]=b;          // 第一次收到的二维码
          }
          else if (QRPacke1[0]==a && QRPacke1[1]==b)
          {
            // 重复，忽略
          }
          else
          {
            QRPacke[0]=a; QRPacke[1]=b;            // 第二次最新不同二维码
          }
		}
		else if(rxBuffer2[0] == 0xAB && rxBuffer2[6] == 0x55)
		{
			Coulor[0]=rxBuffer2[5];
			Coulor[1]=rxBuffer2[4];
			Coulor[2]=rxBuffer2[3];
			Coulor[3]=rxBuffer2[2];
			Coulor[4]=rxBuffer2[1];
		}
		else if(rxBuffer2[0] == 0xAD && rxBuffer2[7] == 0x55)
		{
			place[0]=rxBuffer2[1];
			place[1]=rxBuffer2[2];
			place[2]=rxBuffer2[3];
			place[3]=rxBuffer2[4];
			place[4]=rxBuffer2[5];
			place[5]=rxBuffer2[6];
            vision_place_valid = 1U;
		}
        HAL_UARTEx_ReceiveToIdle_DMA(&huart1, rxBuffer2, sizeof(rxBuffer2));
		__HAL_DMA_DISABLE_IT(&hdma_usart1_rx, DMA_IT_HT);
    }

}
/* USER CODE END 0 */

int main(void)
{

  /* MCU Configuration--------------------------------------------------------*/

  /* Reset of all peripherals, Initializes the Flash interface and the Systick. */
  HAL_Init();

  /* Configure the system clock */
  SystemClock_Config();

  /* Initialize all configured peripherals */
  MX_GPIO_Init();
  MX_DMA_Init();
  MX_TIM4_Init();
  MX_TIM5_Init();
  MX_TIM8_Init();
  MX_UART4_Init();
  MX_UART5_Init();
  MX_USART1_UART_Init();
  MX_USART2_UART_Init();
  MX_USART3_UART_Init();
  MX_TIM3_Init();
  MX_USART6_UART_Init();
  /* USER CODE BEGIN 2 */
    g_debug_io_mode = 1U;
    duoji_Init();
    HAL_Delay(DUOJI_BOOT_SETTLE_DELAY_MS);
    duoji_Turntable_Set_Start_Position();
    HAL_Delay(DUOJI_BOOT_REHOME_DELAY_MS);
    //duoji_tc();
    duoji_tc_1();  //抬升

    // 启动UART DMA接收
    HAL_UARTEx_ReceiveToIdle_DMA(&huart1,rxBuffer2,sizeof(rxBuffer2));
	__HAL_DMA_DISABLE_IT(&hdma_usart1_rx,DMA_IT_HT);

    txBuffer2[0] = 0xAA;
    txBuffer2[1] = 0x00;
    txBuffer2[2] = 0x00;
    txBuffer2[3] = 0x55;
    vision_current_cmd = txBuffer2[2];
    HAL_UART_Transmit_DMA(&huart1, txBuffer2, 4);

	HAL_UARTEx_ReceiveToIdle_DMA(&huart4,rxBuffer4,sizeof(rxBuffer4));
	__HAL_DMA_DISABLE_IT(&hdma_uart4_rx,DMA_IT_HT);
    HAL_UARTEx_ReceiveToIdle_DMA(&huart5,rxBuffer5,sizeof(rxBuffer5));
	__HAL_DMA_DISABLE_IT(&hdma_uart5_rx,DMA_IT_HT);

	// HAL_UARTEx_ReceiveToIdle_DMA(&huart2,rxBuffer2,sizeof(rxBuffer2));
	// __HAL_DMA_DISABLE_IT(&hdma_usart2_rx,DMA_IT_HT);

	/* 修改：USART6 通过空闲中断 DMA 连续接收 JY61P 数据。 */
	/* 修改：统一通过启停函数管理 USART6 陀螺仪 DMA 接收。 */
	JY61P_RxStart();

	// 传感器初始化配置
	//HAL_TIM_Base_Start_IT(&htim8);
    uint32_t gyro_wait_start = HAL_GetTick();
    while ((angleValid == 0U) && ((HAL_GetTick() - gyro_wait_start) < 2000U))
    {
      HAL_Delay(10);
    }
  /* USER CODE END 2 */

/* Infinite loop */
/* USER CODE BEGIN WHILE */
	OLED_Init();
	Move_Init();
	JY61P_RxStop();
    //HAL_Delay(3000);
    // task1_1_step1();
    // HAL_Delay(3000);
    // task1_1_step2();
    // HAL_Delay(3000);
    // task1_1_step3();
    // HAL_Delay(3000);
    // task1_1_step4();
    // HAL_Delay(3000);5
    // task1_1_finish();
    //duoji_Turntable_Set_Start_Position();
   // duoji_Turntable_Set_Port(2);
	//Gray_Trace_GPIO_Init();
  //Gray_Trace_GPIO_Init(); //确保GPIO已初始化
    //uint8_t a='a';
	//JY61P_CalibrateAccel();
//Move_StartTranslateForTime(0,0.1, 1000);
//Move_CircleForTime(0.8,0.13,0,10000);
//	Emm_V5_MMCL_Pos_Control(3, 1, 500, 30, 6400, false, true);
//	Emm_V5_MMCL_Pos_Control(4, 1, 500, 30, 6400, false, true);

////	// 然后发送多电机同步命令
//	Emm_V5_Multi_Motor_Cmd_UART5(0); HAL_Delay(1);
//	Emm_V5_MMCL_Pos_Control(1, 1, 500, 30, 6400, false, true);
//	Emm_V5_MMCL_Pos_Control(2, 1, 500, 30, 6400, false, true);
//	Emm_V5_Multi_Motor_Cmd_UART4(0);
// Move_RotateAngle(90,0,500, 30);
// //	Move_StartCircleForTime(0.8, 0.13,0,10000);
// Emm_V5_MMCL_Vel_Control(1, 1,100, 30,true);
// Emm_V5_MMCL_Vel_Control(2, 1,100, 30,true);
// Emm_V5_MMCL_Vel_Control(4, 1, 100, 30,true);
// Emm_V5_MMCL_Vel_Control(3, 1, 100, 30,true);
// Emm_V5_Multi_Motor_Cmd_UART5(0); HAL_Delay(1);

//Emm_V5_Multi_Motor_Cmd_UART4(0); HAL_Delay(1);

// stat=1;
// 	//开始之�?
// 	task3(95);
// 	task2(0);
// 	// HAL_Delay(3000);
// 	//开始之�?
//   task2(-47); //舵机向上为负，向下为�?
// 	task3(-27); //舵机向上为正，向下为�?
//   if (boot_requires_duoji_rehome()) {
//     duoji_set_start_position(2);
//   } else {
//     duoji_sync_start_position(2);
//   }
   //task1_1_step1();
//   //Move_StartTranslateForTime(225,0.3, 1000);
//   Vision_XY_PID_Then_Forward_Backward_Reset();
    // duoji_Set_ID1_Angle(30);
    // HAL_Delay(1);
    // duoji_Set_ID2_Angle(170);
    // HAL_Delay(3000);
    // //舵机恢复转盘转动模式

    //task1_1_step2();
   // duoji_Turntable_MoveToAngle720(720.0f);
   // duoji_Turntable_Rotate(duoji_TURNTABLE_CCW, TURNTABLE_PWM_STEP_72_DEG, TURNTABLE_DEFAULT_MOVE_TIME);
//   Emm_V5_MMCL_Pos_Control(1, 1, 100, 30, 1600, false, true);
//   Emm_V5_MMCL_Pos_Control(4, 0, 100, 30, 1600, false, true);
//  Emm_V5_Multi_Motor_Cmd_UART5(0); HAL_Delay(1);
//   Emm_V5_MMCL_Pos_Control(2, 1,100, 30,1600, false, true);
//   Emm_V5_MMCL_Pos_Control(3, 0, 100, 30,1600, false, true);
//   Emm_V5_Multi_Motor_Cmd_UART4(0);
stat=1;
/* 修改：暂时执行一次上电初始 Yaw 闭环转角测试，完成后停在主循环。 */
//Move_RotateCW_FromInitialYaw(90.0f);
//Move_StartTranslateForTime(270,0.3, 1000);
// Move_StartTranslateForTime(225,0.3, 1000);
// guanjun_1();
 HAL_Delay(2000);
//  guanjun_2();
  while (1)
  {
    State();
//HAL_UART_Transmit_DMA(&huart4, uart4_hello, sizeof(uart4_hello) - 1U);
//HAL_Delay(1000);
    // uint16_t vision_x = 0U;
	// uint16_t vision_y = 0U;
	// uint8_t vision_valid = 0U;

	//  // Vision_XY_PID_Then_Forward_Backward_Reset();
	// 	vision_valid = get_vision_xy(&vision_x, &vision_y, 960U, 720U);
	// 	if(Vision_XY_PID_Then_Forward_Backward(vision_x, vision_y, vision_valid,
	// 										   522U, 960U,
	// 										   360U, 720U,
	// 										   2U, 2U,
	// 										   0.0008f, 0.00000f, 0.00000f,
	// 										   0.0008f, 0.00000f, 0.00000f,
	// 										   0.01f, 0.14f,
	// 										   400.0f, 400.0f,
	// 										   15U,
	// 										   90.0f, 270.0f,
	// 										   0.0f, 180.0f,
	// 										   200U,
	// 										   0.1575f, 0.0f,
	// 										   0.15f,
	// 										   0.0f, 180.0f))
	// 	{
	// 		break;
	// 	}
	// 	HAL_Delay(5);
    //   uint16_t vision_x = 0U;
    //   uint16_t vision_y = 0U;
    //   uint8_t vision_valid = get_vision_xy(&vision_x, &vision_y, 1280U, 960U);

    //   Vision_XY_PID_Then_Forward_Backward(vision_x, vision_y, vision_valid,
    //                                       620U, 1280U,
    //                                       480U, 960U,
    //                                       7U, 7U,
    //                                       0.00040f, 0.00000f, 0.00010f,
    //                                       0.00040f, 0.00000f, 0.00010f,
    //                                       0.03f, 0.14f,
    //                                       400.0f, 400.0f,
    //                                       15U,
    //                                       90.0f, 270.0f,
    //                                       0.0f, 180.0f,
    //                                       200U,
    //                                       0.11f, 0.11f,
    //                                       0.20f,
    //                                       0.0f, 180.0f);
  // State();
//    float gray1 = Gray_Trace_Get_Dir();
    //  XUNji();

      //HAL_Delay(5);
    // task1_2_finish();
    //   int QR=2;
	// 	switch(QR)
	// 	{
	// 		case 1:  outLetter[0]='a'; outLetter[1]='b'; outLetter[2]='c';
	// 		break;
	// 		case 2:  outLetter[0]='a'; outLetter[1]='c'; outLetter[2]='b';
	// 		break;
	// 		case 3:  outLetter[0]='b'; outLetter[1]='a'; outLetter[2]='c';
	// 		break;
	// 		case 4:  outLetter[0]='b'; outLetter[1]='c'; outLetter[2]='a';
	// 		break;
	// 		case 5:  outLetter[0]='c'; outLetter[1]='a'; outLetter[2]='b';
	// 		break;
	// 		case 6:  outLetter[0]='c'; outLetter[1]='b'; outLetter[2]='a';
	// 		break;
	// 		default:
	// 			outLetter[0]=outLetter[1]=outLetter[2]=outLetter[3]=0;
	// 			break;
	// 	}
    //     //task1_2_finish();
    //     HAL_Delay(1000);
    //     BuildBall2OrderFromQr();
    //     output_ball_alternating_second(ball_2[0]);
    //     HAL_Delay(1000);
    //     output_ball_alternating_second(ball_2[1]);
    //     HAL_Delay(1000);
    //     output_ball_alternating_second(ball_2[2]);
    //     HAL_Delay(1000);
    //     while(1)
    //     {

    //     };
    // OLED_ShowString(1, 1, "X:");
	// OLED_ShowNum(1, 3, vision_x, 3);
	// OLED_ShowString(2, 1, "Y:");
	// OLED_ShowNum(2, 3, vision_y, 3);
	// HAL_Delay(30);
	// HAL_Delay(1000);
    //Move_StopAll();
    //State();
    //XUNji();
   //Move_Circle(0.8, 0.4, 1);
   //HAL_Delay(8);
//	  OLED_ShowChar(1,1,Coulor[0]);
//	  OLED_ShowChar(2,1,Coulor[1]);
//	  OLED_ShowChar(3,1,Coulor[2]);
//	  OLED_ShowChar(4,1,Coulor[3]);
//	  OLED_ShowChar(4,3,Coulor[4]);

//	  OLED_ShowHexNum(1, 1, place[0], 3);
//	  OLED_ShowHexNum(1, 5, place[1], 3);
//	  OLED_ShowHexNum(2, 1, place[2], 3);
//	  OLED_ShowHexNum(3, 1, place[3], 3);
//	  OLED_ShowHexNum(3, 5, place[4], 3);
//	  OLED_ShowHexNum(4, 1, place[5], 3);

//	  OLED_ShowHexNum(1, 1, QRPacke[0], 2);
//	  OLED_ShowHexNum(2, 1, QRPacke[1], 2);

//	  HAL_Delay(2000);

    /* USER CODE END WHILE */

  }
}

void SystemClock_Config(void)
{
  RCC_OscInitTypeDef RCC_OscInitStruct = {0};
  RCC_ClkInitTypeDef RCC_ClkInitStruct = {0};

  /** Configure the main internal regulator output voltage
  */
  __HAL_RCC_PWR_CLK_ENABLE();
  __HAL_PWR_VOLTAGESCALING_CONFIG(PWR_REGULATOR_VOLTAGE_SCALE1);

  /** Initializes the RCC Oscillators according to the specified parameters
  * in the RCC_OscInitTypeDef structure.
  */
  RCC_OscInitStruct.OscillatorType = RCC_OSCILLATORTYPE_HSE;
  RCC_OscInitStruct.HSEState = RCC_HSE_ON;
  RCC_OscInitStruct.PLL.PLLState = RCC_PLL_ON;
  RCC_OscInitStruct.PLL.PLLSource = RCC_PLLSOURCE_HSE;
  RCC_OscInitStruct.PLL.PLLM = 4;
  RCC_OscInitStruct.PLL.PLLN = 144;
  RCC_OscInitStruct.PLL.PLLP = RCC_PLLP_DIV2;
  RCC_OscInitStruct.PLL.PLLQ = 4;
  if (HAL_RCC_OscConfig(&RCC_OscInitStruct) != HAL_OK)
  {
    Error_Handler();
  }

  /** Initializes the CPU, AHB and APB buses clocks
  */
  RCC_ClkInitStruct.ClockType = RCC_CLOCKTYPE_HCLK|RCC_CLOCKTYPE_SYSCLK
                              |RCC_CLOCKTYPE_PCLK1|RCC_CLOCKTYPE_PCLK2;
  RCC_ClkInitStruct.SYSCLKSource = RCC_SYSCLKSOURCE_PLLCLK;
  RCC_ClkInitStruct.AHBCLKDivider = RCC_SYSCLK_DIV1;
  RCC_ClkInitStruct.APB1CLKDivider = RCC_HCLK_DIV4;
  RCC_ClkInitStruct.APB2CLKDivider = RCC_HCLK_DIV2;

  if (HAL_RCC_ClockConfig(&RCC_ClkInitStruct, FLASH_LATENCY_4) != HAL_OK)
  {
    Error_Handler();
  }
}

/* USER CODE BEGIN 4 */
//void HAL_TIM_PeriodElapsedCallback(TIM_HandleTypeDef *htim)
//{
//	if(htim==&htim8)
//	{
//		count++;
//		if(count>=1000)
//		{
//			count=0;
//			count1++;
//		}
//	}
//}
/* USER CODE END 4 */

void Error_Handler(void)
{
  __disable_irq();
  while (1)
  {
  }
}
